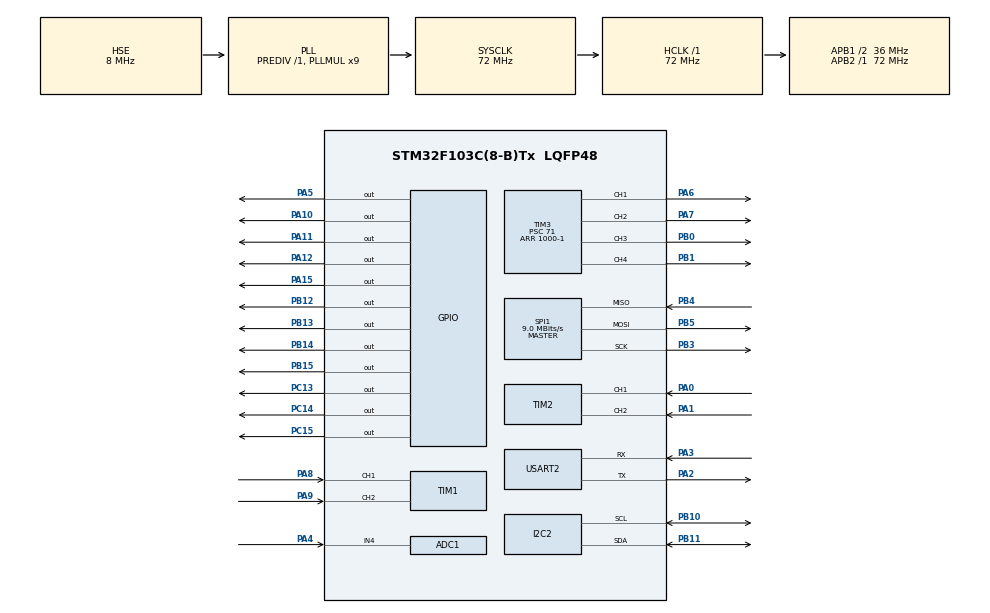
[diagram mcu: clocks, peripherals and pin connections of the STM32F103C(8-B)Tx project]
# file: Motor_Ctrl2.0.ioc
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ADC1.Channel-0\#ChannelRegularConversion=ADC_CHANNEL_4
ADC1.NbrOfConversionFlag=1
ADC1.Rank-0\#ChannelRegularConversion=1
ADC1.SamplingTime-0\#ChannelRegularConversion=ADC_SAMPLETIME_1CYCLE_5
ADC1.master=1
FREERTOS.Tasks01=defaultTask,24,128,StartDefaultTask,Default,NULL,Dynamic,NULL,NULL;Servo_uart_ctrl,40,128,Servo_uart_ctrl_task,Default,NULL,Dynamic,NULL,NULL;connect_Aux,32,128,connect_Aux_task,Default,NULL,Dynamic,NULL,NULL;motor_ctrl,41,128,motor_ctrl_task,Default,NULL,Dynamic,NULL,NULL
Mcu.Family=STM32F1
Mcu.Name=STM32F103C(8-B)Tx
Mcu.Package=LQFP48
NVIC.PriorityGroup=NVIC_PRIORITYGROUP_4
NVIC.TIM4_IRQn=true\:15\:0\:false\:false\:true\:false\:false\:true\:true
NVIC.TimeBase=TIM4_IRQn
NVIC.TimeBaseIP=TIM4
NVIC.USART2_IRQn=true\:5\:0\:false\:false\:true\:true\:true\:true\:true
PA0-WKUP.Signal=S_TIM2_CH1_ETR
PA1.Signal=S_TIM2_CH2
PA10.Signal=GPIO_Output
PA11.Signal=GPIO_Output
PA12.Signal=GPIO_Output
PA13.Mode=Serial_Wire
PA13.Signal=SYS_JTMS-SWDIO
PA14.Mode=Serial_Wire
PA14.Signal=SYS_JTCK-SWCLK
PA15.Signal=GPIO_Output
PA2.Mode=Asynchronous
PA2.Signal=USART2_TX
PA3.Mode=Asynchronous
PA3.Signal=USART2_RX
PA4.Signal=ADCx_IN4
PA5.Signal=GPIO_Output
PA6.Signal=S_TIM3_CH1
PA7.Signal=S_TIM3_CH2
PA8.Signal=S_TIM1_CH1
PA9.Signal=S_TIM1_CH2
PB0.Signal=S_TIM3_CH3
PB1.Signal=S_TIM3_CH4
PB10.Mode=I2C
PB10.Signal=I2C2_SCL
PB11.Mode=I2C
PB11.Signal=I2C2_SDA
PB12.Signal=GPIO_Output
PB13.Signal=GPIO_Output
PB14.Signal=GPIO_Output
PB15.Signal=GPIO_Output
PB3.Mode=Full_Duplex_Master
PB3.Signal=SPI1_SCK
PB4.Mode=Full_Duplex_Master
PB4.Signal=SPI1_MISO
PB5.Mode=Full_Duplex_Master
PB5.Signal=SPI1_MOSI
PC13-TAMPER-RTC.Signal=GPIO_Output
PC14-OSC32_IN.Signal=GPIO_Output
PC15-OSC32_OUT.Signal=GPIO_Output
PD0-OSC_IN.Mode=HSE-External-Oscillator
PD0-OSC_IN.Signal=RCC_OSC_IN
PD1-OSC_OUT.Mode=HSE-External-Oscillator
PD1-OSC_OUT.Signal=RCC_OSC_OUT
ProjectManager.HeapSize=0x200
ProjectManager.StackSize=0x400
ProjectManager.TargetToolchain=MDK-ARM V5.32
RCC.ADCPresc=RCC_ADCPCLK2_DIV6
RCC.AHBFreq_Value=72000000
RCC.APB1CLKDivider=RCC_HCLK_DIV2
RCC.APB1Freq_Value=36000000
RCC.APB1TimFreq_Value=72000000
RCC.APB2Freq_Value=72000000
RCC.APB2TimFreq_Value=72000000
RCC.HCLKFreq_Value=72000000
RCC.PLLMUL=RCC_PLL_MUL9
RCC.PLLSourceVirtual=RCC_PLLSOURCE_HSE
RCC.SYSCLKFreq_VALUE=72000000
RCC.SYSCLKSource=RCC_SYSCLKSOURCE_PLLCLK
RCC.USBFreq_Value=72000000
SH.ADCx_IN4.0=ADC1_IN4,IN4
SH.S_TIM1_CH1.0=TIM1_CH1,Encoder_Interface
SH.S_TIM1_CH2.0=TIM1_CH2,Encoder_Interface
SH.S_TIM2_CH1_ETR.0=TIM2_CH1,Encoder_Interface
SH.S_TIM2_CH2.0=TIM2_CH2,Encoder_Interface
SH.S_TIM3_CH1.0=TIM3_CH1,PWM Generation1 CH1
SH.S_TIM3_CH2.0=TIM3_CH2,PWM Generation2 CH2
SH.S_TIM3_CH3.0=TIM3_CH3,PWM Generation3 CH3
SH.S_TIM3_CH4.0=TIM3_CH4,PWM Generation4 CH4
SPI1.BaudRatePrescaler=SPI_BAUDRATEPRESCALER_8
SPI1.CalculateBaudRate=9.0 MBits/s
SPI1.Direction=SPI_DIRECTION_2LINES
SPI1.Mode=SPI_MODE_MASTER
SPI1.VirtualType=VM_MASTER
TIM1.EncoderMode=TIM_ENCODERMODE_TI12
TIM2.EncoderMode=TIM_ENCODERMODE_TI12
TIM3.Channel-PWM\ Generation1\ CH1=TIM_CHANNEL_1
TIM3.Channel-PWM\ Generation2\ CH2=TIM_CHANNEL_2
TIM3.Channel-PWM\ Generation3\ CH3=TIM_CHANNEL_3
TIM3.Channel-PWM\ Generation4\ CH4=TIM_CHANNEL_4
TIM3.Period=1000-1
TIM3.Prescaler=71
USART2.VirtualMode=VM_ASYNC
VP_CRC_VS_CRC.Mode=CRC_Activate
VP_FREERTOS_VS_CMSIS_V2.Mode=CMSIS_V2
VP_SYS_VS_tim4.Mode=TIM4
board=custom

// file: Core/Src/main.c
/* USER CODE BEGIN Header */
/**
  ******************************************************************************
  * @file           : main.c
  * @brief          : Main program body
  ******************************************************************************
  * @attention
  *
  * Copyright (c) 2024 STMicroelectronics.
  * All rights reserved.
  *
  * This software is licensed under terms that can be found in the LICENSE file
  * in the root directory of this software component.
  * If no LICENSE file comes with this software, it is provided AS-IS.
  *
  ******************************************************************************
  */
/* USER CODE END Header */
#include "main.h"
#include "cmsis_os.h"
#include "adc.h"
#include "crc.h"
#include "i2c.h"
#include "spi.h"
#include "tim.h"
#include "usart.h"
#include "gpio.h"

/* USER CODE BEGIN Includes */
#include "speed.h"
#include "nrf24L01.h"
/* USER CODE END Includes */

/* USER CODE BEGIN PV */
uint16_t count=0;
/* USER CODE END PV */

void SystemClock_Config(void);
void MX_FREERTOS_Init(void);

/* USER CODE BEGIN 0 */
uint8_t NRF_OK=0;
/* USER CODE END 0 */

int main(void)
{

  /* MCU Configuration--------------------------------------------------------*/

  /* Reset of all peripherals, Initializes the Flash interface and the Systick. */
  HAL_Init();

  /* Configure the system clock */
  SystemClock_Config();

  /* Initialize all configured peripherals */
  MX_GPIO_Init();
  MX_SPI1_Init();
  MX_TIM1_Init();
  MX_TIM2_Init();
  MX_TIM3_Init();
  MX_USART2_UART_Init();
  MX_ADC1_Init();
  MX_I2C2_Init();
  MX_CRC_Init();
  /* USER CODE BEGIN 2 */
	speed_meter_init();

	NRF24L01_Init();

	NRF24L01_RX_Mode();

	HAL_TIM_PWM_Start(&htim3,TIM_CHANNEL_1);
	HAL_TIM_PWM_Start(&htim3,TIM_CHANNEL_2);
	HAL_TIM_PWM_Start(&htim3,TIM_CHANNEL_3);
	HAL_TIM_PWM_Start(&htim3,TIM_CHANNEL_4);

  /* USER CODE END 2 */

  /* Init scheduler */
  osKernelInitialize();  /* Call init function for freertos objects (in freertos.c) */
  MX_FREERTOS_Init();

  /* Start scheduler */
  osKernelStart();
  /* We should never get here as control is now taken by the scheduler */
  /* Infinite loop */
  while (1)
  {

  }
}

void SystemClock_Config(void)
{
  RCC_OscInitTypeDef RCC_OscInitStruct = {0};
  RCC_ClkInitTypeDef RCC_ClkInitStruct = {0};
  RCC_PeriphCLKInitTypeDef PeriphClkInit = {0};

  /** Initializes the RCC Oscillators according to the specified parameters
  * in the RCC_OscInitTypeDef structure.
  */
  RCC_OscInitStruct.OscillatorType = RCC_OSCILLATORTYPE_HSE;
  RCC_OscInitStruct.HSEState = RCC_HSE_ON;
  RCC_OscInitStruct.HSEPredivValue = RCC_HSE_PREDIV_DIV1;
  RCC_OscInitStruct.HSIState = RCC_HSI_ON;
  RCC_OscInitStruct.PLL.PLLState = RCC_PLL_ON;
  RCC_OscInitStruct.PLL.PLLSource = RCC_PLLSOURCE_HSE;
  RCC_OscInitStruct.PLL.PLLMUL = RCC_PLL_MUL9;
  if (HAL_RCC_OscConfig(&RCC_OscInitStruct) != HAL_OK)
  {
    Error_Handler();
  }

  /** Initializes the CPU, AHB and APB buses clocks
  */
  RCC_ClkInitStruct.ClockType = RCC_CLOCKTYPE_HCLK|RCC_CLOCKTYPE_SYSCLK
                              |RCC_CLOCKTYPE_PCLK1|RCC_CLOCKTYPE_PCLK2;
  RCC_ClkInitStruct.SYSCLKSource = RCC_SYSCLKSOURCE_PLLCLK;
  RCC_ClkInitStruct.AHBCLKDivider = RCC_SYSCLK_DIV1;
  RCC_ClkInitStruct.APB1CLKDivider = RCC_HCLK_DIV2;
  RCC_ClkInitStruct.APB2CLKDivider = RCC_HCLK_DIV1;

  if (HAL_RCC_ClockConfig(&RCC_ClkInitStruct, FLASH_LATENCY_2) != HAL_OK)
  {
    Error_Handler();
  }
  PeriphClkInit.PeriphClockSelection = RCC_PERIPHCLK_ADC;
  PeriphClkInit.AdcClockSelection = RCC_ADCPCLK2_DIV6;
  if (HAL_RCCEx_PeriphCLKConfig(&PeriphClkInit) != HAL_OK)
  {
    Error_Handler();
  }
}

void HAL_TIM_PeriodElapsedCallback(TIM_HandleTypeDef *htim)
{
  if (htim->Instance == TIM4) {
    HAL_IncTick();
  }
}

void Error_Handler(void)
{
  __disable_irq();
  while (1)
  {
  }
}

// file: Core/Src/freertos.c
/* USER CODE BEGIN Header */
/**
  ******************************************************************************
  * File Name          : freertos.c
  * Description        : Code for freertos applications
  ******************************************************************************
  * @attention
  *
  * Copyright (c) 2024 STMicroelectronics.
  * All rights reserved.
  *
  * This software is licensed under terms that can be found in the LICENSE file
  * in the root directory of this software component.
  * If no LICENSE file comes with this software, it is provided AS-IS.
  *
  ******************************************************************************
  */
/* USER CODE END Header */

#include "FreeRTOS.h"
#include "task.h"
#include "main.h"
#include "cmsis_os.h"

/* USER CODE BEGIN Includes */
#include "speed.h"
#include "transmit.h"
#include "motor_ctrl.h"
#include "tim.h"
#include "usart.h"
#include "nrf24L01.h"
#include "string.h"
/* USER CODE END Includes */

/* USER CODE BEGIN PM */
uint8_t tmp_buf[33];
/* USER CODE END PM */

/* USER CODE BEGIN Variables */
uint8_t CRC_test;
/* USER CODE END Variables */
/* Definitions for defaultTask */
osThreadId_t defaultTaskHandle;
const osThreadAttr_t defaultTask_attributes = {
  .name = "defaultTask",
  .stack_size = 128 * 4,
  .priority = (osPriority_t) osPriorityNormal,
};
/* Definitions for Servo_uart_ctrl */
osThreadId_t Servo_uart_ctrlHandle;
const osThreadAttr_t Servo_uart_ctrl_attributes = {
  .name = "Servo_uart_ctrl",
  .stack_size = 128 * 4,
  .priority = (osPriority_t) osPriorityHigh,
};
/* Definitions for connect_Aux */
osThreadId_t connect_AuxHandle;
const osThreadAttr_t connect_Aux_attributes = {
  .name = "connect_Aux",
  .stack_size = 128 * 4,
  .priority = (osPriority_t) osPriorityAboveNormal,
};
/* Definitions for motor_ctrl */
osThreadId_t motor_ctrlHandle;
const osThreadAttr_t motor_ctrl_attributes = {
  .name = "motor_ctrl",
  .stack_size = 128 * 4,
  .priority = (osPriority_t) osPriorityHigh1,
};

void StartDefaultTask(void *argument);
void Servo_uart_ctrl_task(void *argument);
void connect_Aux_task(void *argument);
void motor_ctrl_task(void *argument);

void MX_FREERTOS_Init(void); /* (MISRA C 2004 rule 8.1) */

void MX_FREERTOS_Init(void) {

  /* Create the thread(s) */
  /* creation of defaultTask */
  defaultTaskHandle = osThreadNew(StartDefaultTask, NULL, &defaultTask_attributes);

  /* creation of Servo_uart_ctrl */
  Servo_uart_ctrlHandle = osThreadNew(Servo_uart_ctrl_task, NULL, &Servo_uart_ctrl_attributes);

  /* creation of connect_Aux */
  connect_AuxHandle = osThreadNew(connect_Aux_task, NULL, &connect_Aux_attributes);

  /* creation of motor_ctrl */
  motor_ctrlHandle = osThreadNew(motor_ctrl_task, NULL, &motor_ctrl_attributes);

}

void StartDefaultTask(void *argument)
{
  for(;;)
  {
    osDelay(1);
  }
}

void Servo_uart_ctrl_task(void *argument)
{
  /* USER CODE BEGIN Servo_uart_ctrl_task */
  /* Infinite loop */
  for(;;)
  {
			if(NRF24L01_RxPacket(tmp_buf)==0) //nrf数据接收
    {
			memcpy(&remote,tmp_buf,sizeof(remote));
		}
    osDelay(20);
  }
  /* USER CODE END Servo_uart_ctrl_task */
}

void connect_Aux_task(void *argument)
{
  /* USER CODE BEGIN connect_Aux_task */
	main_board.head=0x51;
	receieve_from_board();
  /* Infinite loop */
  for(;;)
  {
		connect_with_board();
    osDelay(25);
  }
  /* USER CODE END connect_Aux_task */
}

void motor_ctrl_task(void *argument)
{
  /* USER CODE BEGIN motor_ctrl_task */
	PID_Init();
  /* Infinite loop */
  for(;;)
  {
		motor_speed[0]=-get_speed(&htim2);
		motor_speed[1]=-get_speed(&htim1);
		motor_speed[2]=auxilliary_board.speed[1];
		motor_speed[3]=auxilliary_board.speed[0];
    remote_recieve();

		if(remote.status==1)
			motor_ctrl_at_TB6612();

    osDelay(10);
  }
  /* USER CODE END motor_ctrl_task */
}

/* USER CODE BEGIN Application */
void HAL_UART_RxCpltCallback(UART_HandleTypeDef *huart)//串口接收完成回调函数
{
	if(huart->Instance == USART2)
	{
   receieve_from_board();

	}
}
/* USER CODE END Application */
